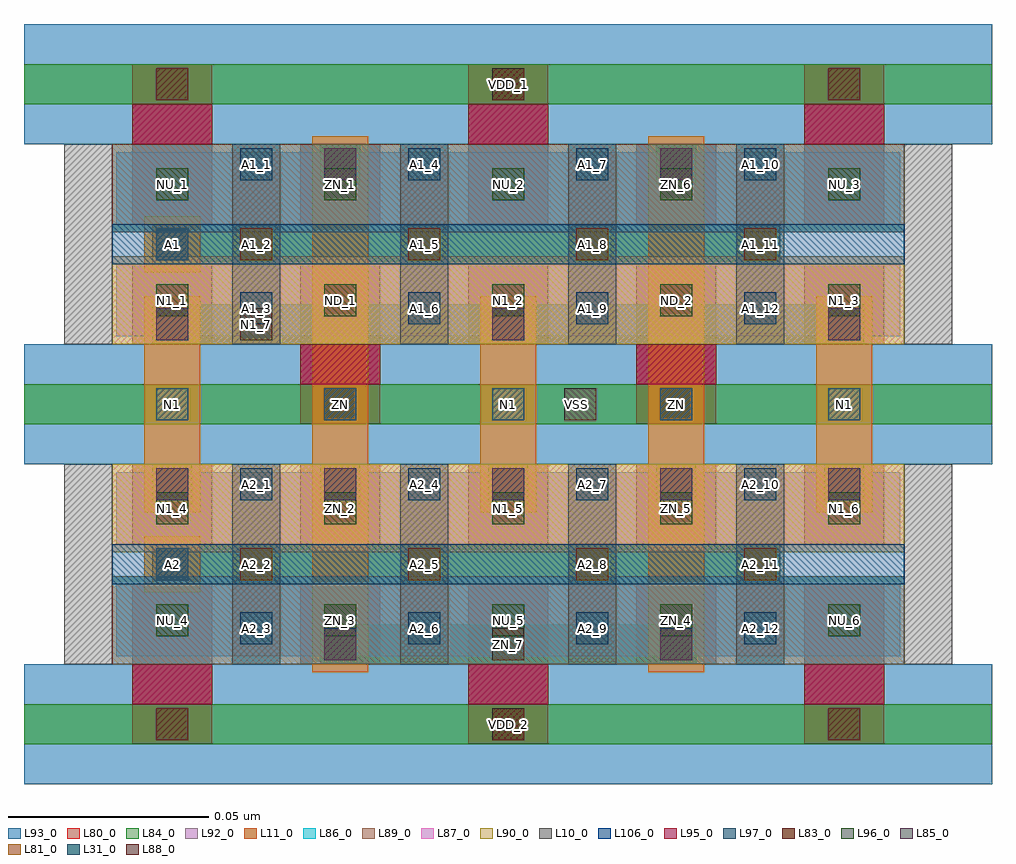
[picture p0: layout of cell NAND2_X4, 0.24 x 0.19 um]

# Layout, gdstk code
import gdstk
lib = gdstk.Library(unit=1e-6, precision=1e-09)
def R(c, l, rs):  # rectangles x0, y0, x1, y1
    for r in rs: c.add(gdstk.rectangle(r[:2], r[2:], *l))
def A(c, l, x, y, w, h, nx, ny, dx, dy):  # array of equal rectangles
    R(c, l, [(x+i*dx, y+j*dy, x+i*dx+w, y+j*dy+h) for i in range(nx) for j in range(ny)])
L10_0 = (10, 0)
L11_0 = (11, 0)
L31_0 = (31, 0)
L80_0 = (80, 0)
L81_0 = (81, 0)
L83_0 = (83, 0)
L84_0 = (84, 0)
L85_0 = (85, 0)
L86_0 = (86, 0)
L87_0 = (87, 0)
L88_0 = (88, 0)
L89_0 = (89, 0)
L90_0 = (90, 0)
L92_0 = (92, 0)
L93_0 = (93, 0)
L95_0 = (95, 0)
L96_0 = (96, 0)
L97_0 = (97, 0)
L106_0 = (106, 0)

nand2_x4 = lib.new_cell('NAND2_X4')
A(nand2_x4, L10_0, -0.027, -0.065, 0.012, 0.05, 6, 2, 0.042, 0.08)
A(nand2_x4, L11_0, -0.007, -0.027, 0.014, 0.034, 5, 2, 0.042, 0.02)
R(nand2_x4, L11_0, [(0.035,-0.067,0.049,-0.033), (0.119,-0.067,0.133,-0.033), (-0.007,-0.047,0.007,-0.033), (0.035,-0.047,0.049,-0.013), (0.119,-0.047,0.133,-0.013), (0.035,0.013,0.049,0.047), (0.119,0.013,0.133,0.047), (-0.007,0.033,0.007,0.047), (0.035,0.033,0.049,0.067), (0.119,0.033,0.133,0.067)])
A(nand2_x4, L31_0, -0.004, -0.004, 0.008, 0.008, 5, 1, 0.042, 0)
R(nand2_x4, L31_0, [(-0.004,-0.044,0.004,-0.036), (-0.004,0.036,0.004,0.044)])
A(nand2_x4, L80_0, -0.01, -0.085, 0.02, 0.021, 3, 1, 0.084, 0)
A(nand2_x4, L80_0, -0.01, -0.065, 0.02, 0.02, 5, 2, 0.042, 0.08)
A(nand2_x4, L80_0, -0.01, 0.056, 0.02, 0.029, 3, 1, 0.084, 0)
R(nand2_x4, L80_0, [(-0.01,-0.035,0.01,-0.015), (-0.01,-0.035,0.01,-0.015), (0.032,-0.035,0.052,-0.015), (0.032,-0.035,0.052,-0.015), (0.074,-0.035,0.094,-0.015), (0.074,-0.035,0.094,-0.015), (0.116,-0.035,0.136,-0.015), (0.116,-0.035,0.136,-0.015), (0.158,-0.035,0.178,-0.015), (0.158,-0.035,0.178,-0.015), (0.032,-0.005,0.052,0.016), (0.116,-0.005,0.136,0.016), (-0.01,0.045,0.01,0.065), (-0.01,0.045,0.01,0.065), (0.032,0.045,0.052,0.065), (0.032,0.045,0.052,0.065), (0.074,0.045,0.094,0.065), (0.074,0.045,0.094,0.065), (0.116,0.045,0.136,0.065), (0.116,0.045,0.136,0.065), (0.158,0.045,0.178,0.065), (0.158,0.045,0.178,0.065)])
A(nand2_x4, L81_0, 0.017, -0.044, 0.008, 0.008, 4, 2, 0.042, 0.08)
A(nand2_x4, L83_0, -0.004, -0.084, 0.008, 0.008, 3, 2, 0.084, 0.1)
A(nand2_x4, L83_0, 0.038, -0.064, 0.008, 0.008, 1, 3, 0, 0.06)
A(nand2_x4, L83_0, 0.122, -0.064, 0.008, 0.008, 1, 3, 0, 0.06)
A(nand2_x4, L83_0, -0.004, -0.024, 0.008, 0.008, 5, 1, 0.042, 0)
A(nand2_x4, L83_0, -0.004, 0.076, 0.008, 0.008, 3, 1, 0.084, 0)
A(nand2_x4, L84_0, -0.037, -0.085, 0.242, 0.01, 1, 3, 0, 0.08)
A(nand2_x4, L84_0, 0.037, -0.065, 0.031, 0.01, 4, 1, 0.021, 0)
A(nand2_x4, L84_0, 0.037, -0.045, 0.031, 0.01, 5, 2, 0.021, 0.08)
A(nand2_x4, L84_0, -0.005, -0.025, 0.01, 0.01, 5, 1, 0.042, 0)
A(nand2_x4, L84_0, -0.005, 0.015, 0.031, 0.01, 8, 1, 0.021, 0)
R(nand2_x4, L84_0, [(-0.005,-0.045,0.047,-0.035), (-0.005,0.035,0.047,0.045), (0.037,0.055,0.047,0.065), (0.121,0.055,0.131,0.065)])
A(nand2_x4, L85_0, -0.004, -0.024, 0.008, 0.008, 5, 1, 0.042, 0)
A(nand2_x4, L85_0, -0.004, 0.016, 0.008, 0.008, 3, 1, 0.084, 0)
R(nand2_x4, L85_0, [(0.038,-0.064,0.046,-0.056), (0.122,-0.064,0.13,-0.056), (-0.004,-0.044,0.004,-0.036), (-0.004,0.036,0.004,0.044), (0.038,0.056,0.046,0.064), (0.122,0.056,0.13,0.064)])
R(nand2_x4, L86_0, [(-0.015,-0.065,0.183,-0.043), (-0.015,0.043,0.183,0.065)])
R(nand2_x4, L87_0, [(-0.015,-0.037,0.183,-0.015), (-0.015,0.015,0.183,0.037)])
R(nand2_x4, L88_0, [(0.08,-0.084,0.088,-0.076), (0.08,-0.064,0.088,-0.056), (0.098,-0.004,0.106,0.004), (0.017,0.016,0.025,0.024), (0.08,0.076,0.088,0.084)])
R(nand2_x4, L89_0, [(-0.015,-0.065,0.183,-0.043), (-0.015,0.043,0.183,0.065)])
R(nand2_x4, L90_0, [(-0.015,-0.037,0.183,-0.015), (-0.015,0.015,0.183,0.037)])
R(nand2_x4, L92_0, [(-0.014,-0.063,0.182,-0.045), (-0.014,-0.035,0.182,-0.017), (-0.014,0.017,0.182,0.035), (-0.014,0.045,0.182,0.063)])
A(nand2_x4, L93_0, -0.037, -0.095, 0.242, 0.03, 1, 3, 0, 0.08)
A(nand2_x4, L95_0, -0.01, -0.075, 0.02, 0.01, 3, 2, 0.084, 0.14)
R(nand2_x4, L95_0, [(0.032,0.005,0.052,0.015), (0.116,0.005,0.136,0.015)])
A(nand2_x4, L96_0, -0.004, -0.058, 0.008, 0.008, 5, 2, 0.042, 0.028)
A(nand2_x4, L96_0, -0.004, 0.022, 0.008, 0.008, 5, 2, 0.042, 0.029)
A(nand2_x4, L97_0, 0.017, -0.06, 0.008, 0.008, 4, 2, 0.042, 0.016)
A(nand2_x4, L97_0, 0.017, -0.024, 0.008, 0.008, 4, 2, 0.042, 0.044)
A(nand2_x4, L97_0, 0.017, 0.036, 0.008, 0.008, 4, 2, 0.042, 0.02)
R(nand2_x4, L106_0, [(-0.015,-0.045,0.183,-0.035), (-0.015,0.035,0.183,0.045)])
nand2_x4.add(gdstk.Label('ZN_7', (0.084,-0.06), layer=88, texttype=0))
nand2_x4.add(gdstk.Label('N1_7', (0.021,0.02), layer=88, texttype=0))
nand2_x4.add(gdstk.Label('VDD_2', (0.084,-0.08), layer=88, texttype=0))
nand2_x4.add(gdstk.Label('VSS', (0.101,0), layer=88, texttype=0))
nand2_x4.add(gdstk.Label('VDD_1', (0.084,0.08), layer=88, texttype=0))
nand2_x4.add(gdstk.Label('N1_4', (0,-0.026), layer=96, texttype=0))
nand2_x4.add(gdstk.Label('ZN_2', (0.042,-0.026), layer=96, texttype=0))
nand2_x4.add(gdstk.Label('N1_5', (0.084,-0.026), layer=96, texttype=0))
nand2_x4.add(gdstk.Label('N1_6', (0.168,-0.026), layer=96, texttype=0))
nand2_x4.add(gdstk.Label('ZN_5', (0.126,-0.026), layer=96, texttype=0))
nand2_x4.add(gdstk.Label('ND_2', (0.126,0.026), layer=96, texttype=0))
nand2_x4.add(gdstk.Label('N1_3', (0.168,0.026), layer=96, texttype=0))
nand2_x4.add(gdstk.Label('N1_2', (0.084,0.026), layer=96, texttype=0))
nand2_x4.add(gdstk.Label('ND_1', (0.042,0.026), layer=96, texttype=0))
nand2_x4.add(gdstk.Label('N1_1', (0,0.026), layer=96, texttype=0))
nand2_x4.add(gdstk.Label('NU_4', (0,-0.054), layer=96, texttype=0))
nand2_x4.add(gdstk.Label('ZN_3', (0.042,-0.054), layer=96, texttype=0))
nand2_x4.add(gdstk.Label('NU_5', (0.084,-0.054), layer=96, texttype=0))
nand2_x4.add(gdstk.Label('NU_6', (0.168,-0.054), layer=96, texttype=0))
nand2_x4.add(gdstk.Label('ZN_4', (0.126,-0.054), layer=96, texttype=0))
nand2_x4.add(gdstk.Label('ZN_6', (0.126,0.055), layer=96, texttype=0))
nand2_x4.add(gdstk.Label('NU_3', (0.168,0.055), layer=96, texttype=0))
nand2_x4.add(gdstk.Label('NU_2', (0.084,0.055), layer=96, texttype=0))
nand2_x4.add(gdstk.Label('ZN_1', (0.042,0.055), layer=96, texttype=0))
nand2_x4.add(gdstk.Label('NU_1', (0,0.055), layer=96, texttype=0))
nand2_x4.add(gdstk.Label('ZN', (0.042,0), layer=31, texttype=0))
nand2_x4.add(gdstk.Label('ZN', (0.126,0), layer=31, texttype=0))
nand2_x4.add(gdstk.Label('A2', (0,-0.04), layer=31, texttype=0))
nand2_x4.add(gdstk.Label('A1', (0,0.04), layer=31, texttype=0))
nand2_x4.add(gdstk.Label('N1', (0.168,0), layer=31, texttype=0))
nand2_x4.add(gdstk.Label('N1', (0,0), layer=31, texttype=0))
nand2_x4.add(gdstk.Label('N1', (0.084,0), layer=31, texttype=0))
nand2_x4.add(gdstk.Label('A2_5', (0.063,-0.04), layer=97, texttype=0))
nand2_x4.add(gdstk.Label('A2_6', (0.063,-0.056), layer=97, texttype=0))
nand2_x4.add(gdstk.Label('A2_1', (0.021,-0.02), layer=97, texttype=0))
nand2_x4.add(gdstk.Label('A2_3', (0.021,-0.056), layer=97, texttype=0))
nand2_x4.add(gdstk.Label('A2_2', (0.021,-0.04), layer=97, texttype=0))
nand2_x4.add(gdstk.Label('A2_4', (0.063,-0.02), layer=97, texttype=0))
nand2_x4.add(gdstk.Label('A2_11', (0.147,-0.04), layer=97, texttype=0))
nand2_x4.add(gdstk.Label('A2_12', (0.147,-0.056), layer=97, texttype=0))
nand2_x4.add(gdstk.Label('A2_7', (0.105,-0.02), layer=97, texttype=0))
nand2_x4.add(gdstk.Label('A2_9', (0.105,-0.056), layer=97, texttype=0))
nand2_x4.add(gdstk.Label('A2_8', (0.105,-0.04), layer=97, texttype=0))
nand2_x4.add(gdstk.Label('A2_10', (0.147,-0.02), layer=97, texttype=0))
nand2_x4.add(gdstk.Label('A1_10', (0.147,0.06), layer=97, texttype=0))
nand2_x4.add(gdstk.Label('A1_8', (0.105,0.04), layer=97, texttype=0))
nand2_x4.add(gdstk.Label('A1_9', (0.105,0.024), layer=97, texttype=0))
nand2_x4.add(gdstk.Label('A1_7', (0.105,0.06), layer=97, texttype=0))
nand2_x4.add(gdstk.Label('A1_12', (0.147,0.024), layer=97, texttype=0))
nand2_x4.add(gdstk.Label('A1_11', (0.147,0.04), layer=97, texttype=0))
nand2_x4.add(gdstk.Label('A1_4', (0.063,0.06), layer=97, texttype=0))
nand2_x4.add(gdstk.Label('A1_2', (0.021,0.04), layer=97, texttype=0))
nand2_x4.add(gdstk.Label('A1_3', (0.021,0.024), layer=97, texttype=0))
nand2_x4.add(gdstk.Label('A1_1', (0.021,0.06), layer=97, texttype=0))
nand2_x4.add(gdstk.Label('A1_6', (0.063,0.024), layer=97, texttype=0))
nand2_x4.add(gdstk.Label('A1_5', (0.063,0.04), layer=97, texttype=0))

lib.write_gds('NAND2_X4.gds')
